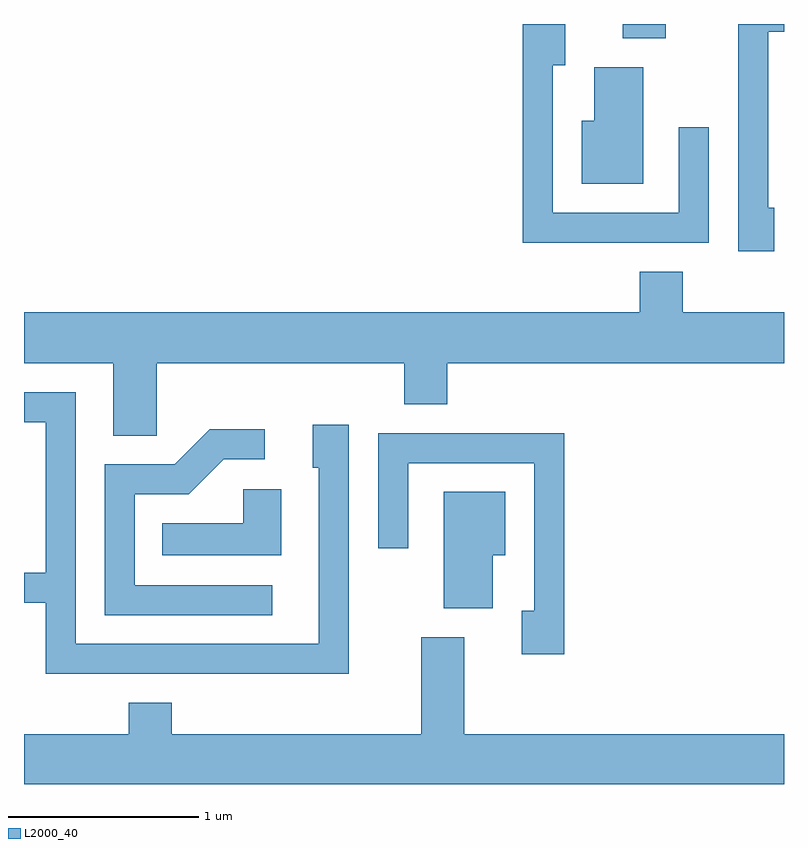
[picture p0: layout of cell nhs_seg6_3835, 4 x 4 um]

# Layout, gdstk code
import gdstk
lib = gdstk.Library(unit=1e-6, precision=1e-09)
def R(c, l, rs):  # rectangles x0, y0, x1, y1
    for r in rs: c.add(gdstk.rectangle(r[:2], r[2:], *l))
def P(c, l, *ps):  # polygons
    for p in ps: c.add(gdstk.Polygon(p, *l))
L2000_40 = (2000, 40)

nhs_seg6_3835 = lib.new_cell('nhs_seg6_3835')
R(nhs_seg6_3835, L2000_40, [(302.761,1656.086,302.989,1656.162)])
P(nhs_seg6_3835, L2000_40, [(303.559,1655.194),(303.529,1655.194),(303.529,1656.121),(303.611,1656.121),(303.611,1656.162),(303.371,1656.162),(303.371,1654.966),(303.559,1654.966)],
  [(303.214,1655.618),(303.056,1655.618),(303.056,1655.169),(302.394,1655.169),(302.394,1655.946),(302.459,1655.946),(302.459,1656.162),(302.236,1656.162),(302.236,1655.011),(303.214,1655.011)],
  [(302.869,1655.934),(302.611,1655.934),(302.611,1655.654),(302.546,1655.654),(302.546,1655.321),(302.869,1655.321)],
  [(300.309,1654.376),(301.611,1654.376),(301.611,1654.161),(301.839,1654.161),(301.839,1654.376),(303.611,1654.376),(303.611,1654.644),(303.079,1654.644),(303.079,1654.859),(302.851,1654.859),(302.851,1654.644),(299.611,1654.644),(299.611,1654.376),(300.081,1654.376),(300.081,1653.996),(300.309,1653.996)],
  [(301.319,1654.054),(301.131,1654.054),(301.131,1653.826),(301.161,1653.826),(301.161,1652.899),(299.884,1652.899),(299.884,1654.224),(299.611,1654.224),(299.611,1654.066),(299.726,1654.066),(299.726,1653.274),(299.611,1653.274),(299.611,1653.116),(299.726,1653.116),(299.726,1652.741),(301.319,1652.741)],
  [(300.918,1653.209),(300.194,1653.209),(300.194,1653.686),(300.477,1653.686),(300.662,1653.871),(300.878,1653.871),(300.878,1654.029),(300.589,1654.029),(300.404,1653.844),(300.036,1653.844),(300.036,1653.051),(300.918,1653.051)],
  [(302.454,1654.009),(301.476,1654.009),(301.476,1653.403),(301.634,1653.403),(301.634,1653.851),(302.296,1653.851),(302.296,1653.074),(302.231,1653.074),(302.231,1652.846),(302.454,1652.846)],
  [(300.964,1653.714),(300.766,1653.714),(300.766,1653.534),(300.338,1653.534),(300.338,1653.366),(300.964,1653.366)],
  [(302.079,1653.366),(302.144,1653.366),(302.144,1653.699),(301.821,1653.699),(301.821,1653.086),(302.079,1653.086)],
  [(303.611,1652.424),(301.929,1652.424),(301.929,1652.934),(301.701,1652.934),(301.701,1652.424),(300.389,1652.424),(300.389,1652.589),(300.161,1652.589),(300.161,1652.424),(299.611,1652.424),(299.611,1652.162),(303.611,1652.162)])

lib.write_gds('nhs_seg6_3835.gds')
